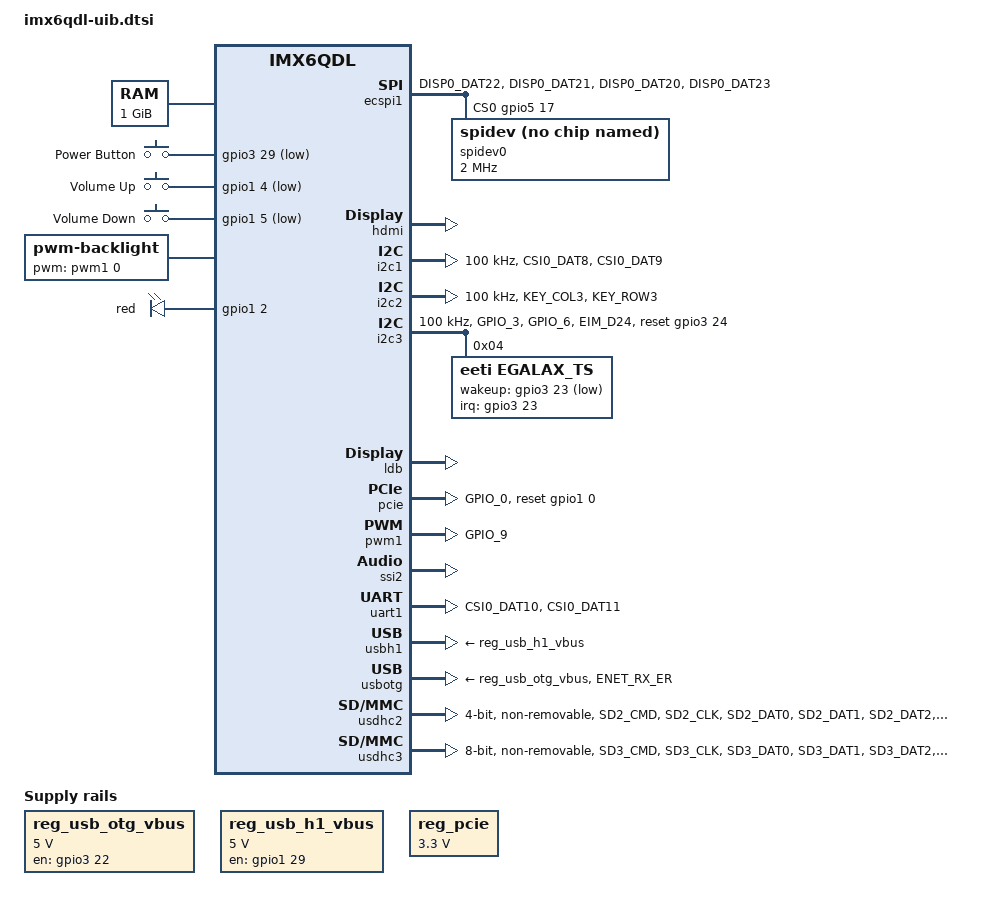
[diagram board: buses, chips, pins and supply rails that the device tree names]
/*
 * Copyright 2012 Freescale Semiconductor, Inc.
 * Copyright 2011 Linaro Ltd.
 *
 * The code contained herein is licensed under the GNU General Public
 * License. You may obtain a copy of the GNU General Public License
 * Version 2 or later at the following locations:
 *
 * http://www.opensource.org/licenses/gpl-license.html
 * http://www.gnu.org/copyleft/gpl.html
 */

#include <dt-bindings/gpio/gpio.h>
#include <dt-bindings/input/input.h>

/ {
	chosen {
		stdout-path = &uart1;
	};

	memory {
		reg = <0x10000000 0x40000000>;
	};

	regulators {
		compatible = "simple-bus";
		#address-cells = <1>;
		#size-cells = <0>;

		reg_usb_otg_vbus: regulator@0 {
			compatible = "regulator-fixed";
			reg = <0>;
			regulator-name = "usb_otg_vbus";
			regulator-min-microvolt = <5000000>;
			regulator-max-microvolt = <5000000>;
			gpio = <&gpio3 22 0>;
			enable-active-high;
		};

		reg_usb_h1_vbus: regulator@1 {
			compatible = "regulator-fixed";
			reg = <1>;
			regulator-name = "usb_h1_vbus";
			regulator-min-microvolt = <5000000>;
			regulator-max-microvolt = <5000000>;
			gpio = <&gpio1 29 0>;
			enable-active-high;
		};

		reg_pcie: regulator@2 {
			compatible = "regulator-fixed";
			reg = <3>;
			regulator-name = "MPCIE_3V3";
			regulator-min-microvolt = <3300000>;
			regulator-max-microvolt = <3300000>;
			regulator-always-on;
		};
	};

	gpio-keys {
		compatible = "gpio-keys";
		pinctrl-names = "default";
		pinctrl-0 = <&pinctrl_gpio_keys>;

		power {
			label = "Power Button";
			gpios = <&gpio3 29 GPIO_ACTIVE_LOW>;
			gpio-key,wakeup;
			linux,code = <KEY_POWER>;
		};

		volume-up {
			label = "Volume Up";
			gpios = <&gpio1 4 GPIO_ACTIVE_LOW>;
			gpio-key,wakeup;
			linux,code = <KEY_VOLUMEUP>;
		};

		volume-down {
			label = "Volume Down";
			gpios = <&gpio1 5 GPIO_ACTIVE_LOW>;
			gpio-key,wakeup;
			linux,code = <KEY_VOLUMEDOWN>;
		};
	};

	backlight {
		compatible = "pwm-backlight";
		pwms = <&pwm1 0 5000000>;
		brightness-levels = <0 4 8 16 32 64 128 255>;
		default-brightness-level = <7>;
		status = "okay";
	};

	leds {
		compatible = "gpio-leds";
		pinctrl-names = "default";
		pinctrl-0 = <&pinctrl_gpio_leds>;

		red {
		        gpios = <&gpio1 2 0>;
		        default-state = "on";
		};
	};
};

&ecspi1 {
	fsl,spi-num-chipselects = <1>;
	cs-gpios = <&gpio5 17 0>;
	pinctrl-names = "default";
	pinctrl-0 = <&pinctrl_ecspi1>;
	status = "okay";
	spi-max-frequency = <2000000>;

    spidev0: spi@0 {
        compatible = "spidev";
        reg = <0>;
        spi-max-frequency = <2000000>;
    };
/*
	interrupt-parent = <&gpio3>;
	interrupts = <31 0>;

	nfc@0 {
		compatible = "ti,trf7970a";
		reg = <0>;
		pinctrl-names = "default";
		ti,enable-gpios = <&gpio3 30 GPIO_ACTIVE_HIGH>, <&gpio3 29 GPIO_ACTIVE_HIGH>;
		status = "okay";
	};
*/
};

&fec {
	pinctrl-names = "default";
	pinctrl-0 = <&pinctrl_enet>;
	phy-mode = "rgmii";
	phy-reset-gpios = <&gpio1 25 GPIO_ACTIVE_LOW>;
	interrupts-extended = <&gpio1 26 IRQ_TYPE_LEVEL_LOW>;
	status = "disabled";
};

&hdmi {
	ddc-i2c-bus = <&i2c2>;
	status = "okay";
};

&i2c1 {
	clock-frequency = <100000>;
	pinctrl-names = "default";
	pinctrl-0 = <&pinctrl_i2c1>;
	status = "okay";
};

&i2c2 {
	clock-frequency = <100000>;
	pinctrl-names = "default";
	pinctrl-0 = <&pinctrl_i2c2>;
	status = "okay";
};

&i2c3 {
	clock-frequency = <100000>;
	pinctrl-names = "default";
	pinctrl-0 = <&pinctrl_i2c3>;
	status = "okay";
	reset-gpios = <&gpio3 24 0>;
	reset-active-low;

	egalax_ts@04 {
		compatible = "eeti,egalax_ts";
		reg = <0x04>;
		interrupt-parent = <&gpio3>;
		interrupts = <23 2>;
		wakeup-gpios = <&gpio3 23 GPIO_ACTIVE_LOW>;
	};
};

&iomuxc {
	pinctrl-names = "default";
	pinctrl-0 = <&pinctrl_hog>;

	imx6qdl-sabresd {
		pinctrl_hog: hoggrp {
			fsl,pins = <
				MX6QDL_PAD_ENET_TXD1__GPIO1_IO29 0x1b0b0
				MX6QDL_PAD_EIM_D22__GPIO3_IO22  0x1b0b0
			>;
		};

		pinctrl_audmux: audmuxgrp {
			fsl,pins = <
				MX6QDL_PAD_CSI0_DAT7__AUD3_RXD		0x130b0
				MX6QDL_PAD_CSI0_DAT4__AUD3_TXC		0x130b0
				MX6QDL_PAD_CSI0_DAT5__AUD3_TXD		0x110b0
				MX6QDL_PAD_CSI0_DAT6__AUD3_TXFS		0x130b0
			>;
		};

		pinctrl_ecspi1: ecspi1grp {
			fsl,pins = <
				MX6QDL_PAD_DISP0_DAT22__ECSPI1_MISO	0x100b1
				MX6QDL_PAD_DISP0_DAT21__ECSPI1_MOSI	0x100b1
				MX6QDL_PAD_DISP0_DAT20__ECSPI1_SCLK	0x100b1
				MX6QDL_PAD_DISP0_DAT23__GPIO5_IO17	0x1b0b0
			>;
		};

		pinctrl_enet: enetgrp {
			fsl,pins = <
				MX6QDL_PAD_ENET_MDIO__ENET_MDIO		0x1b0b0
				MX6QDL_PAD_ENET_MDC__ENET_MDC		0x1b0b0
				MX6QDL_PAD_RGMII_TXC__RGMII_TXC		0x1b0b0
				MX6QDL_PAD_RGMII_TD0__RGMII_TD0		0x1b0b0
				MX6QDL_PAD_RGMII_TD1__RGMII_TD1		0x1b0b0
				MX6QDL_PAD_RGMII_TD2__RGMII_TD2		0x1b0b0
				MX6QDL_PAD_RGMII_TD3__RGMII_TD3		0x1b0b0
				MX6QDL_PAD_RGMII_TX_CTL__RGMII_TX_CTL	0x1b0b0
				MX6QDL_PAD_ENET_REF_CLK__ENET_TX_CLK	0x1b0b0
				MX6QDL_PAD_RGMII_RXC__RGMII_RXC		0x1b0b0
				MX6QDL_PAD_RGMII_RD0__RGMII_RD0		0x1b0b0
				MX6QDL_PAD_RGMII_RD1__RGMII_RD1		0x1b0b0
				MX6QDL_PAD_RGMII_RD2__RGMII_RD2		0x1b0b0
				MX6QDL_PAD_RGMII_RD3__RGMII_RD3		0x1b0b0
				MX6QDL_PAD_RGMII_RX_CTL__RGMII_RX_CTL	0x1b0b0
				/* phy reset */
				MX6QDL_PAD_ENET_CRS_DV__GPIO1_IO25	0x1b0b0
				/* irq */
				MX6QDL_PAD_ENET_RXD1__GPIO1_IO26	0x1b0b1
			>;
		};

		pinctrl_gpio_keys: gpio_keysgrp {
			fsl,pins = <
				MX6QDL_PAD_EIM_D29__GPIO3_IO29 0x1b0b0
				MX6QDL_PAD_GPIO_4__GPIO1_IO04  0x1b0b0
				MX6QDL_PAD_GPIO_5__GPIO1_IO05  0x1b0b0
			>;
		};

		pinctrl_i2c1: i2c1grp {
			fsl,pins = <
				MX6QDL_PAD_CSI0_DAT8__I2C1_SDA		0x4001b8b1
				MX6QDL_PAD_CSI0_DAT9__I2C1_SCL		0x4001b8b1
			>;
		};

		pinctrl_i2c2: i2c2grp {
			fsl,pins = <
				MX6QDL_PAD_KEY_COL3__I2C2_SCL		0x4001b8b1
				MX6QDL_PAD_KEY_ROW3__I2C2_SDA		0x4001b8b1
			>;
		};

		pinctrl_i2c3: i2c3grp {
			fsl,pins = <
				MX6QDL_PAD_GPIO_3__I2C3_SCL		0x4001b8b1
				MX6QDL_PAD_GPIO_6__I2C3_SDA		0x4001b8b1
				MX6QDL_PAD_EIM_D24__GPIO3_IO24	0x1b0b0
			>;
		};

		pinctrl_pcie: pciegrp {
			fsl,pins = <
				MX6QDL_PAD_GPIO_0__GPIO1_IO00	0x1b0b0
			>;
		};

		pinctrl_pwm1: pwm1grp {
			fsl,pins = <
				MX6QDL_PAD_GPIO_9__PWM1_OUT		0x1b0b1
			>;
		};

		pinctrl_uart1: uart1grp {
			fsl,pins = <
				MX6QDL_PAD_CSI0_DAT10__UART1_TX_DATA	0x1b0b1
				MX6QDL_PAD_CSI0_DAT11__UART1_RX_DATA	0x1b0b1
			>;
		};

		pinctrl_usbotg: usbotggrp {
			fsl,pins = <
				MX6QDL_PAD_ENET_RX_ER__USB_OTG_ID	0x17059
			>;
		};

		pinctrl_usdhc2: usdhc2grp {
			fsl,pins = <
				MX6QDL_PAD_SD2_CMD__SD2_CMD		0x17059
				MX6QDL_PAD_SD2_CLK__SD2_CLK		0x10059
				MX6QDL_PAD_SD2_DAT0__SD2_DATA0		0x17059
				MX6QDL_PAD_SD2_DAT1__SD2_DATA1		0x17059
				MX6QDL_PAD_SD2_DAT2__SD2_DATA2		0x17059
				MX6QDL_PAD_SD2_DAT3__SD2_DATA3		0x17059
			>;
		};

		pinctrl_usdhc3: usdhc3grp {
			fsl,pins = <
				MX6QDL_PAD_SD3_CMD__SD3_CMD		0x17059
				MX6QDL_PAD_SD3_CLK__SD3_CLK		0x10059
				MX6QDL_PAD_SD3_DAT0__SD3_DATA0		0x17059
				MX6QDL_PAD_SD3_DAT1__SD3_DATA1		0x17059
				MX6QDL_PAD_SD3_DAT2__SD3_DATA2		0x17059
				MX6QDL_PAD_SD3_DAT3__SD3_DATA3		0x17059
				MX6QDL_PAD_SD3_DAT4__SD3_DATA4		0x17059
				MX6QDL_PAD_SD3_DAT5__SD3_DATA5		0x17059
				MX6QDL_PAD_SD3_DAT6__SD3_DATA6		0x17059
				MX6QDL_PAD_SD3_DAT7__SD3_DATA7		0x17059
			>;
		};

		pinctrl_usdhc1: usdhc1grp {
			fsl,pins = <
				MX6QDL_PAD_SD1_CMD__SD1_CMD		0x17059
				MX6QDL_PAD_SD1_CLK__SD1_CLK		0x10059
				MX6QDL_PAD_SD1_DAT0__SD1_DATA0		0x17059
				MX6QDL_PAD_SD1_DAT1__SD1_DATA1		0x17059
				MX6QDL_PAD_SD1_DAT2__SD1_DATA2		0x17059
				MX6QDL_PAD_SD1_DAT3__SD1_DATA3		0x17059
			>;
		};

		gpio_leds {
			pinctrl_gpio_leds: gpioledsgrp {
				fsl,pins = <
					MX6QDL_PAD_GPIO_2__GPIO1_IO02 0x1b0b0
				>;
			};
		};

		pinctrl_gpmi_nand: gpminandgrp {
			fsl,pins = <
				MX6QDL_PAD_NANDF_CLE__NAND_CLE		0xb0b1
				MX6QDL_PAD_NANDF_ALE__NAND_ALE		0xb0b1
				MX6QDL_PAD_NANDF_WP_B__NAND_WP_B	0xb0b1
				MX6QDL_PAD_NANDF_RB0__NAND_READY_B	0xb000
				MX6QDL_PAD_NANDF_CS0__NAND_CE0_B	0xb0b1
				MX6QDL_PAD_NANDF_CS1__NAND_CE1_B	0xb0b1
				MX6QDL_PAD_SD4_CMD__NAND_RE_B		0xb0b1
				MX6QDL_PAD_SD4_CLK__NAND_WE_B		0xb0b1
				MX6QDL_PAD_NANDF_D0__NAND_DATA00	0xb0b1
				MX6QDL_PAD_NANDF_D1__NAND_DATA01	0xb0b1
				MX6QDL_PAD_NANDF_D2__NAND_DATA02	0xb0b1
				MX6QDL_PAD_NANDF_D3__NAND_DATA03	0xb0b1
				MX6QDL_PAD_NANDF_D4__NAND_DATA04	0xb0b1
				MX6QDL_PAD_NANDF_D5__NAND_DATA05	0xb0b1
				MX6QDL_PAD_NANDF_D6__NAND_DATA06	0xb0b1
				MX6QDL_PAD_NANDF_D7__NAND_DATA07	0xb0b1
				MX6QDL_PAD_SD4_DAT0__NAND_DQS		0x00b1
			>;
		};
	};
};

&ldb {
	status = "okay";

	lvds-channel@1 {
		fsl,data-mapping = "spwg";
		fsl,data-width = <18>;
		status = "okay";

		display-timings {
			native-mode = <&timing0>;
			timing0: hsd100pxn1 {
				clock-frequency = <65000000>;
				hactive = <1024>;
				vactive = <768>;
				hback-porch = <220>;
				hfront-porch = <40>;
				vback-porch = <21>;
				vfront-porch = <7>;
				hsync-len = <60>;
				vsync-len = <10>;
			};
		};
	};
};

&pcie {
	pinctrl-names = "default";
	pinctrl-0 = <&pinctrl_pcie>;
	reset-gpio = <&gpio1 0 0>;
	reset-active-low;
	status = "okay";
};

&pwm1 {
	pinctrl-names = "default";
	pinctrl-0 = <&pinctrl_pwm1>;
	status = "okay";
};

&ssi2 {
	status = "okay";
};

&uart1 {
	pinctrl-names = "default";
	pinctrl-0 = <&pinctrl_uart1>;
	status = "okay";
};

&usbh1 {
	vbus-supply = <&reg_usb_h1_vbus>;
	status = "okay";
};

&usbotg {
	vbus-supply = <&reg_usb_otg_vbus>;
	pinctrl-names = "default";
	pinctrl-0 = <&pinctrl_usbotg>;
	disable-over-current;
	status = "okay";
};

&usdhc2 {
	pinctrl-names = "default";
	pinctrl-0 = <&pinctrl_usdhc2>;
	bus-width = <4>;
	non-removable;
	status = "okay";
};

&usdhc3 {
	pinctrl-names = "default";
	pinctrl-0 = <&pinctrl_usdhc3>;
	bus-width = <8>;
	non-removable;
	status = "okay";
	no-1-8-v;
};
